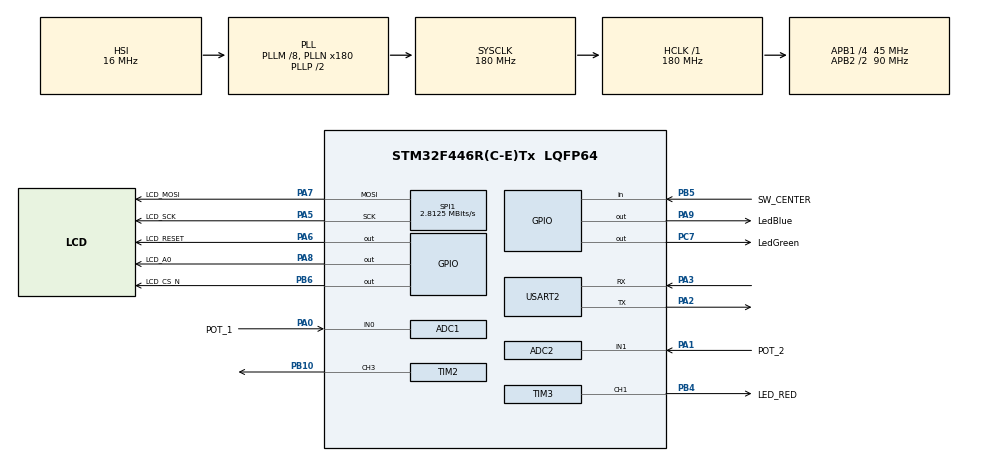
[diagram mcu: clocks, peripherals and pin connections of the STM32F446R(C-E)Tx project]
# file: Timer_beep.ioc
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ADC1.Channel-0\#ChannelRegularConversion=ADC_CHANNEL_0
ADC1.ClockPrescaler=ADC_CLOCK_SYNC_PCLK_DIV4
ADC1.ContinuousConvMode=ENABLE
ADC1.DMAContinuousRequests=DISABLE
ADC1.DataAlign=ADC_DATAALIGN_RIGHT
ADC1.DiscontinuousConvMode=DISABLE
ADC1.EOCSelection=ADC_EOC_SEQ_CONV
ADC1.EnableAnalogWatchDog=false
ADC1.ExternalTrigConv=ADC_SOFTWARE_START
ADC1.ExternalTrigConvEdge=ADC_EXTERNALTRIGCONVEDGE_NONE
ADC1.InjNumberOfConversion=0
ADC1.NbrOfConversion=1
ADC1.NbrOfConversionFlag=1
ADC1.Rank-0\#ChannelRegularConversion=1
ADC1.Resolution=ADC_RESOLUTION_12B
ADC1.SamplingTime-0\#ChannelRegularConversion=ADC_SAMPLETIME_3CYCLES
ADC1.ScanConvMode=DISABLE
ADC1.master=1
ADC2.Channel-0\#ChannelRegularConversion=ADC_CHANNEL_1
ADC2.ClockPrescaler=ADC_CLOCK_SYNC_PCLK_DIV4
ADC2.ContinuousConvMode=ENABLE
ADC2.DMAContinuousRequests=DISABLE
ADC2.DataAlign=ADC_DATAALIGN_RIGHT
ADC2.DiscontinuousConvMode=DISABLE
ADC2.EOCSelection=ADC_EOC_SEQ_CONV
ADC2.EnableAnalogWatchDog=false
ADC2.ExternalTrigConv=ADC_SOFTWARE_START
ADC2.ExternalTrigConvEdge=ADC_EXTERNALTRIGCONVEDGE_NONE
ADC2.InjNumberOfConversion=0
ADC2.NbrOfConversion=1
ADC2.NbrOfConversionFlag=1
ADC2.Rank-0\#ChannelRegularConversion=1
ADC2.Resolution=ADC_RESOLUTION_12B
ADC2.SamplingTime-0\#ChannelRegularConversion=ADC_SAMPLETIME_3CYCLES
ADC2.ScanConvMode=DISABLE
Dma.Request0=USART2_TX
Dma.USART2_TX.0.Direction=DMA_MEMORY_TO_PERIPH
Dma.USART2_TX.0.FIFOMode=DMA_FIFOMODE_DISABLE
Dma.USART2_TX.0.Instance=DMA1_Stream6
Dma.USART2_TX.0.MemDataAlignment=DMA_MDATAALIGN_BYTE
Dma.USART2_TX.0.MemInc=DMA_MINC_ENABLE
Dma.USART2_TX.0.Mode=DMA_NORMAL
Dma.USART2_TX.0.PeriphDataAlignment=DMA_PDATAALIGN_BYTE
Dma.USART2_TX.0.PeriphInc=DMA_PINC_DISABLE
Dma.USART2_TX.0.Priority=DMA_PRIORITY_MEDIUM
Mcu.Family=STM32F4
Mcu.Name=STM32F446R(C-E)Tx
Mcu.Package=LQFP64
NVIC.DMA1_Stream6_IRQn=true\:0\:0\:false\:false\:true\:false
NVIC.PriorityGroup=NVIC_PRIORITYGROUP_4
PA0-WKUP.GPIO_Label=POT_1
PA0-WKUP.Signal=ADCx_IN0
PA1.GPIO_Label=POT_2
PA1.Signal=ADCx_IN1
PA13.Mode=Serial_Wire
PA13.Signal=SYS_JTMS-SWDIO
PA14.Mode=Serial_Wire
PA14.Signal=SYS_JTCK-SWCLK
PA2.Mode=Asynchronous
PA2.Signal=USART2_TX
PA3.Mode=Asynchronous
PA3.Signal=USART2_RX
PA5.GPIO_Label=LCD_SCK
PA5.Mode=TX_Only_Simplex_Unidirect_Master
PA5.Signal=SPI1_SCK
PA6.GPIO_Label=LCD_RESET
PA6.Signal=GPIO_Output
PA7.GPIO_Label=LCD_MOSI
PA7.Mode=TX_Only_Simplex_Unidirect_Master
PA7.Signal=SPI1_MOSI
PA8.GPIO_Label=LCD_A0
PA8.Signal=GPIO_Output
PA9.GPIO_Label=LedBlue
PA9.GPIO_Speed=GPIO_SPEED_FREQ_HIGH
PA9.PinState=GPIO_PIN_RESET
PA9.Signal=GPIO_Output
PB10.Signal=S_TIM2_CH3
PB4.GPIO_Label=LED_RED
PB4.Signal=S_TIM3_CH1
PB5.GPIO_Label=SW_CENTER
PB5.Signal=GPIO_Input
PB6.GPIO_Label=LCD_CS_N
PB6.Signal=GPIO_Output
PC7.GPIO_Label=LedGreen
PC7.Signal=GPIO_Output
PH0-OSC_IN.Mode=HSE-External-Oscillator
PH0-OSC_IN.Signal=RCC_OSC_IN
PH1-OSC_OUT.Mode=HSE-External-Oscillator
PH1-OSC_OUT.Signal=RCC_OSC_OUT
ProjectManager.HeapSize=0x200
ProjectManager.StackSize=0x400
ProjectManager.TargetToolchain=MDK-ARM V5
RCC.AHBFreq_Value=180000000
RCC.APB1CLKDivider=RCC_HCLK_DIV4
RCC.APB1Freq_Value=45000000
RCC.APB1TimFreq_Value=90000000
RCC.APB2CLKDivider=RCC_HCLK_DIV2
RCC.APB2Freq_Value=90000000
RCC.APB2TimFreq_Value=180000000
RCC.CortexFreq_Value=180000000
RCC.HCLKFreq_Value=180000000
RCC.PLLM=8
RCC.PLLN=180
RCC.SYSCLKFreq_VALUE=180000000
RCC.SYSCLKSource=RCC_SYSCLKSOURCE_PLLCLK
RCC.USBFreq_Value=180000000
RCC.VCOOutputFreq_Value=360000000
SH.ADCx_IN0.0=ADC1_IN0,IN0
SH.ADCx_IN1.0=ADC2_IN1,IN1
SH.S_TIM2_CH3.0=TIM2_CH3,PWM Generation3 CH3
SH.S_TIM3_CH1.0=TIM3_CH1,PWM Generation1 CH1
SPI1.BaudRatePrescaler=SPI_BAUDRATEPRESCALER_32
SPI1.CalculateBaudRate=2.8125 MBits/s
SPI1.Direction=SPI_DIRECTION_2LINES
SPI1.Mode=SPI_MODE_MASTER
SPI1.VirtualType=VM_MASTER
TIM2.Channel-PWM\ Generation3\ CH3=TIM_CHANNEL_3
TIM2.Prescaler=90-1
TIM3.Channel-PWM\ Generation1\ CH1=TIM_CHANNEL_1
TIM3.OCPolarity_1=TIM_OCPOLARITY_LOW
TIM3.Period=1000-1
TIM3.Prescaler=900-1
USART2.VirtualMode=VM_ASYNC
board=custom

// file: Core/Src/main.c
/**
  ******************************************************************************
  * @file           : main.c
  * @brief          : Main program body
  ******************************************************************************
  ** This notice applies to any and all portions of this file
  * that are not between comment pairs USER CODE BEGIN and
  * USER CODE END. Other portions of this file, whether
  * inserted by the user or by software development tools
  * are owned by their respective copyright owners.
  *
  * COPYRIGHT(c) 2018 STMicroelectronics
  *
  * Redistribution and use in source and binary forms, with or without modification,
  * are permitted provided that the following conditions are met:
  *   1. Redistributions of source code must retain the above copyright notice,
  *      this list of conditions and the following disclaimer.
  *   2. Redistributions in binary form must reproduce the above copyright notice,
  *      this list of conditions and the following disclaimer in the documentation
  *      and/or other materials provided with the distribution.
  *   3. Neither the name of STMicroelectronics nor the names of its contributors
  *      may be used to endorse or promote products derived from this software
  *      without specific prior written permission.
  *
  * THIS SOFTWARE IS PROVIDED BY THE COPYRIGHT HOLDERS AND CONTRIBUTORS "AS IS"
  * AND ANY EXPRESS OR IMPLIED WARRANTIES, INCLUDING, BUT NOT LIMITED TO, THE
  * IMPLIED WARRANTIES OF MERCHANTABILITY AND FITNESS FOR A PARTICULAR PURPOSE ARE
  * DISCLAIMED. IN NO EVENT SHALL THE COPYRIGHT HOLDER OR CONTRIBUTORS BE LIABLE
  * FOR ANY DIRECT, INDIRECT, INCIDENTAL, SPECIAL, EXEMPLARY, OR CONSEQUENTIAL
  * DAMAGES (INCLUDING, BUT NOT LIMITED TO, PROCUREMENT OF SUBSTITUTE GOODS OR
  * SERVICES; LOSS OF USE, DATA, OR PROFITS; OR BUSINESS INTERRUPTION) HOWEVER
  * CAUSED AND ON ANY THEORY OF LIABILITY, WHETHER IN CONTRACT, STRICT LIABILITY,
  * OR TORT (INCLUDING NEGLIGENCE OR OTHERWISE) ARISING IN ANY WAY OUT OF THE USE
  * OF THIS SOFTWARE, EVEN IF ADVISED OF THE POSSIBILITY OF SUCH DAMAGE.
  *
  ******************************************************************************
  */
#include "main.h"
#include "stm32f4xx_hal.h"
#include "adc.h"
#include "dma.h"
#include "spi.h"
#include "tim.h"
#include "usart.h"
#include "gpio.h"

/* USER CODE BEGIN Includes */
#include "interface_USART_pincinato.h"
#include "lcd_pincinato.h"
#include "stdio.h"
#include "string.h"
#include "lcd_driver.h"
#include "stdbool.h"
#include "structs_pincinato.h"
/* USER CODE END Includes */

/* USER CODE BEGIN PV */
/* Private variables ---------------------------------------------------------*/
#define POT_1_HANDLE hadc1
#define POT_2_HANDLE hadc2

/* USER CODE END PV */

void SystemClock_Config(void);

/* USER CODE BEGIN PFP */
/* Private function prototypes -----------------------------------------------*/
void ClearString(void);
 bool getAdcValue(ADC_HandleTypeDef* hadc,uint32_t * const data);
 bool check_beep(bool last_value);
/* USER CODE END PFP */

int main(void)
{
  /* USER CODE BEGIN 1 */
  static uint32_t data_pot1;
  static uint32_t data_pot2;
	char pot1[5]="";
	char pot2[5]="";
	bool beep_valid =false;
  /* USER CODE END 1 */

  /* MCU Configuration----------------------------------------------------------*/

  /* Reset of all peripherals, Initializes the Flash interface and the Systick. */
  HAL_Init();

  /* Configure the system clock */
  SystemClock_Config();

  /* Initialize all configured peripherals */
  MX_GPIO_Init();
  MX_DMA_Init();
  MX_SPI1_Init();
  MX_USART2_UART_Init();
  MX_ADC2_Init();
  MX_ADC1_Init();
  MX_TIM3_Init();
  MX_TIM2_Init();

  /* Infinite loop */
  /* USER CODE BEGIN WHILE */
	lcd_init ();
	lcd_clear();
	lcd_setString(80,26,(const char *) "TEST",LCD_FONT_8,false);
	lcd_show();
	HAL_TIM_Base_Start(&htim3);
	HAL_TIM_PWM_Start(&htim3,TIM_CHANNEL_1);
	HAL_TIM_Base_Start(&htim2);
	HAL_TIM_PWM_Start(&htim2,TIM_CHANNEL_3);
	HAL_GPIO_WritePin(LedBlue_GPIO_Port,LedBlue_Pin,GPIO_PIN_SET);
	HAL_GPIO_WritePin(LedGreen_GPIO_Port,LedGreen_Pin,GPIO_PIN_SET);
	Table myTable;
	initTable(&myTable);
	initInterface(&myTable,&huart2);
	htim2.Instance->ARR =100;
  while (1)
  {
  /* USER CODE END WHILE */

  /* USER CODE BEGIN 3 */

	//check_RX();
	beep_valid=check_beep(beep_valid);
	if(beep_valid){
		if(getAdcValue(&POT_2_HANDLE,&data_pot2)){
				sprintf(pot2, "%d", data_pot2);
			}
		if (getAdcValue(&POT_1_HANDLE,&data_pot1))
			{
				sprintf(pot1, "%d", data_pot1);
			}
			htim2.Instance->CCR3=(50 + data_pot2*10000/4095)*data_pot1/4095;
			//htim2.Instance->CCR3=30;
			htim2.Instance->ARR = 50 + data_pot2*10000/4095;
			htim2.Instance->CNT=0;
		  HAL_Delay(20);
	}
	else { htim2.Instance->CCR3 =0;}
	char center_button[2]="";
	sprintf(center_button, "%d", beep_valid);
	lcd_clear();
	lcd_setString(0,8,(const char *) &pot1,LCD_FONT_8,false);
	lcd_setString(0,20,(const char *) &pot2,LCD_FONT_8,false);
	lcd_setString(70,20,(const char *) &center_button,LCD_FONT_8,false);
	lcd_show();
	HAL_Delay(100);
	}
  /* USER CODE END 3 */

}

void SystemClock_Config(void)
{

  RCC_OscInitTypeDef RCC_OscInitStruct;
  RCC_ClkInitTypeDef RCC_ClkInitStruct;

    /**Configure the main internal regulator output voltage
    */
  __HAL_RCC_PWR_CLK_ENABLE();

  __HAL_PWR_VOLTAGESCALING_CONFIG(PWR_REGULATOR_VOLTAGE_SCALE1);

    /**Initializes the CPU, AHB and APB busses clocks
    */
  RCC_OscInitStruct.OscillatorType = RCC_OSCILLATORTYPE_HSI;
  RCC_OscInitStruct.HSIState = RCC_HSI_ON;
  RCC_OscInitStruct.HSICalibrationValue = 16;
  RCC_OscInitStruct.PLL.PLLState = RCC_PLL_ON;
  RCC_OscInitStruct.PLL.PLLSource = RCC_PLLSOURCE_HSI;
  RCC_OscInitStruct.PLL.PLLM = 8;
  RCC_OscInitStruct.PLL.PLLN = 180;
  RCC_OscInitStruct.PLL.PLLP = RCC_PLLP_DIV2;
  RCC_OscInitStruct.PLL.PLLQ = 2;
  RCC_OscInitStruct.PLL.PLLR = 2;
  if (HAL_RCC_OscConfig(&RCC_OscInitStruct) != HAL_OK)
  {
    _Error_Handler(__FILE__, __LINE__);
  }

    /**Activate the Over-Drive mode
    */
  if (HAL_PWREx_EnableOverDrive() != HAL_OK)
  {
    _Error_Handler(__FILE__, __LINE__);
  }

    /**Initializes the CPU, AHB and APB busses clocks
    */
  RCC_ClkInitStruct.ClockType = RCC_CLOCKTYPE_HCLK|RCC_CLOCKTYPE_SYSCLK
                              |RCC_CLOCKTYPE_PCLK1|RCC_CLOCKTYPE_PCLK2;
  RCC_ClkInitStruct.SYSCLKSource = RCC_SYSCLKSOURCE_PLLCLK;
  RCC_ClkInitStruct.AHBCLKDivider = RCC_SYSCLK_DIV1;
  RCC_ClkInitStruct.APB1CLKDivider = RCC_HCLK_DIV4;
  RCC_ClkInitStruct.APB2CLKDivider = RCC_HCLK_DIV2;

  if (HAL_RCC_ClockConfig(&RCC_ClkInitStruct, FLASH_LATENCY_5) != HAL_OK)
  {
    _Error_Handler(__FILE__, __LINE__);
  }

    /**Configure the Systick interrupt time
    */
  HAL_SYSTICK_Config(HAL_RCC_GetHCLKFreq()/1000);

    /**Configure the Systick
    */
  HAL_SYSTICK_CLKSourceConfig(SYSTICK_CLKSOURCE_HCLK);

  /* SysTick_IRQn interrupt configuration */
  HAL_NVIC_SetPriority(SysTick_IRQn, 0, 0);
}

/* USER CODE BEGIN 4 */

bool getAdcValue(ADC_HandleTypeDef* hadc, uint32_t * const data){

		HAL_StatusTypeDef adcStatus;
		HAL_ADC_Start(hadc);
		adcStatus= HAL_ADC_PollForConversion(hadc,100);
		if (adcStatus != HAL_OK) {
			return false;
		}
		else {
			*data= HAL_ADC_GetValue(hadc);
			return true;
		}
}

 bool check_beep(bool last_value){

	 if(HAL_GPIO_ReadPin(SW_CENTER_GPIO_Port,SW_CENTER_Pin)==GPIO_PIN_SET){
		 if(last_value==true){ return false;}
		 else{ return true;}
	 }
	 else{ return last_value;}
 }

/* USER CODE END 4 */

void _Error_Handler(char *file, int line)
{
  while(1)
  {
  }
}

/************************ (C) COPYRIGHT STMicroelectronics *****END OF FILE****/
